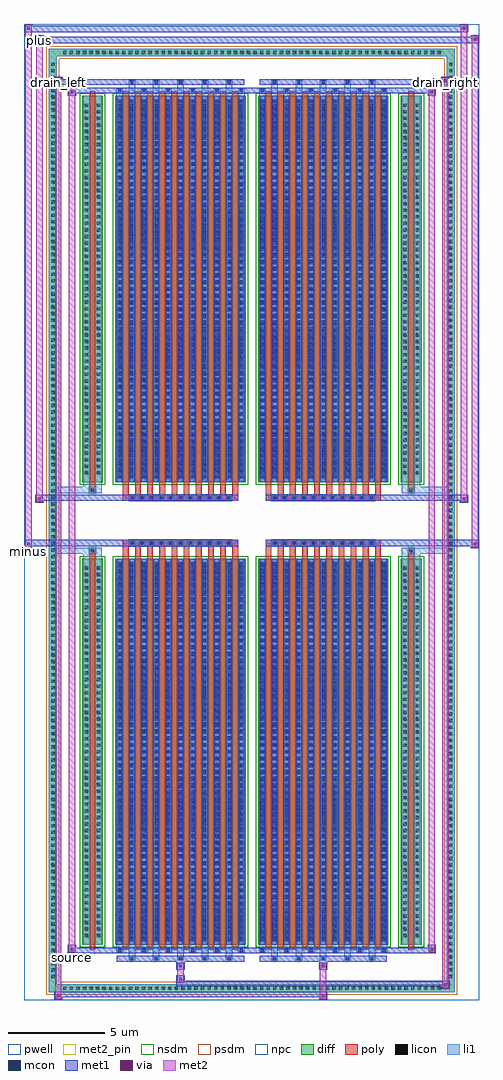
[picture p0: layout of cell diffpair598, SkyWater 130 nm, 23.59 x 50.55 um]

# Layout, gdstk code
import gdstk
lib = gdstk.Library(unit=1e-6, precision=5e-09)
def R(c, l, rs):  # rectangles x0, y0, x1, y1
    for r in rs: c.add(gdstk.rectangle(r[:2], r[2:], *l))
def A(c, l, x, y, w, h, nx, ny, dx, dy):  # array of equal rectangles
    R(c, l, [(x+i*dx, y+j*dy, x+i*dx+w, y+j*dy+h) for i in range(nx) for j in range(ny)])
def P(c, l, *ps):  # polygons
    for p in ps: c.add(gdstk.Polygon(p, *l))
pwell = (64, 44)
diff = (65, 20)
poly = (66, 20)
licon = (66, 44)
li1 = (67, 20)
mcon = (67, 44)
met1 = (68, 20)
via = (68, 44)
met2_pin = (69, 16)
met2 = (69, 20)
nsdm = (93, 44)
psdm = (94, 20)
npc = (95, 20)

diffpair598 = lib.new_cell('diffpair598')
R(diffpair598, pwell, [(-11.78,-24.84,11.78,25.71), (-9.1,-23.03,-0.01,-0.805), (0.01,-23.03,9.1,-0.805), (-9.1,0.805,-0.01,23.03), (0.01,0.805,9.1,23.03)])
A(diffpair598, diff, -9.895, -24.44, 0.41, 0.41, 58, 2, 0.34, 48.47)
A(diffpair598, diff, -10.51, -23.835, 0.41, 0.41, 1, 140, 0, 0.34)
A(diffpair598, diff, 10.1, -23.835, 0.41, 0.41, 1, 140, 0, 0.34)
R(diffpair598, diff, [(-9.895,-24.44,9.895,-24.03), (-10.51,-23.835,-10.1,23.835), (10.1,-23.835,10.51,23.835), (-8.79,-21.985,-7.71,-1.985), (-7.07,-21.985,-0.32,-1.985), (0.32,-21.985,7.07,-1.985), (7.71,-21.985,8.79,-1.985), (-8.79,1.985,-7.71,21.985), (-7.07,1.985,-0.32,21.985), (0.32,1.985,7.07,21.985), (7.71,1.985,8.79,21.985), (-9.895,24.03,9.895,24.44)])
P(diffpair598, diff, [(10.51,24.44),(-10.51,24.44),(-10.51,-24.03),(-10.1,-24.03),(-10.1,24.03),(10.1,24.03),(10.1,-24.03),(-10.1,-24.03),(-10.51,-24.03),(-10.51,-24.44),(10.51,-24.44)])
A(diffpair598, poly, -6.68, -22.235, 0.3, 20.5, 10, 2, 0.63, 23.97)
A(diffpair598, poly, 0.71, -22.235, 0.3, 20.5, 10, 2, 0.63, 23.97)
A(diffpair598, poly, -6.68, -1.735, 0.3, 0.4, 10, 2, 0.63, 3.07)
A(diffpair598, poly, 0.71, -1.735, 0.3, 0.4, 10, 2, 0.63, 3.07)
A(diffpair598, poly, -6.36, -1.335, 0.33, 0.33, 11, 2, 0.5, 2.34)
A(diffpair598, poly, 1.03, -1.335, 0.33, 0.33, 11, 2, 0.5, 2.34)
R(diffpair598, poly, [(-8.4,-22.235,-8.1,-1.735), (8.1,-22.235,8.4,-1.735), (-8.415,-1.735,-8.085,-1.405), (-8.415,-1.735,-8.085,-1.405), (8.085,-1.735,8.415,-1.405), (8.085,-1.735,8.415,-1.405), (-6.68,-1.335,-0.71,-1.005), (0.71,-1.335,6.68,-1.005), (-6.68,1.005,-0.71,1.335), (0.71,1.005,6.68,1.335), (-8.415,1.405,-8.085,1.735), (-8.415,1.405,-8.085,1.735), (8.085,1.405,8.415,1.735), (8.085,1.405,8.415,1.735), (-8.4,1.735,-8.1,22.235), (8.1,1.735,8.4,22.235)])
A(diffpair598, licon, -9.775, -24.32, 0.17, 0.17, 58, 2, 0.34, 48.47)
A(diffpair598, licon, -10.39, -23.715, 0.17, 0.17, 1, 140, 0, 0.34)
A(diffpair598, licon, 10.22, -23.715, 0.17, 0.17, 1, 140, 0, 0.34)
A(diffpair598, licon, -8.65, -21.59, 0.17, 0.17, 1, 57, 0, 0.34)
A(diffpair598, licon, -8.02, -21.59, 0.17, 0.17, 1, 57, 0, 0.34)
A(diffpair598, licon, -6.93, -21.59, 0.17, 0.17, 11, 57, 0.63, 0.34)
A(diffpair598, licon, 0.46, -21.59, 0.17, 0.17, 11, 57, 0.63, 0.34)
A(diffpair598, licon, 7.85, -21.59, 0.17, 0.17, 1, 57, 0, 0.34)
A(diffpair598, licon, 8.48, -21.59, 0.17, 0.17, 1, 57, 0, 0.34)
A(diffpair598, licon, -6.28, -1.255, 0.17, 0.17, 11, 2, 0.5, 2.34)
A(diffpair598, licon, 1.11, -1.255, 0.17, 0.17, 11, 2, 0.5, 2.34)
A(diffpair598, licon, -8.65, 2.38, 0.17, 0.17, 1, 57, 0, 0.34)
A(diffpair598, licon, -8.02, 2.38, 0.17, 0.17, 1, 57, 0, 0.34)
A(diffpair598, licon, -6.93, 2.38, 0.17, 0.17, 11, 57, 0.63, 0.34)
A(diffpair598, licon, 0.46, 2.38, 0.17, 0.17, 11, 57, 0.63, 0.34)
A(diffpair598, licon, 7.85, 2.38, 0.17, 0.17, 1, 57, 0, 0.34)
A(diffpair598, licon, 8.48, 2.38, 0.17, 0.17, 1, 57, 0, 0.34)
R(diffpair598, licon, [(-8.335,-1.655,-8.165,-1.485), (8.165,-1.655,8.335,-1.485), (-8.335,1.485,-8.165,1.655), (8.165,1.485,8.335,1.655)])
A(diffpair598, li1, -9.855, -24.4, 0.33, 0.33, 58, 2, 0.34, 48.47)
A(diffpair598, li1, -10.47, -23.795, 0.33, 0.33, 1, 140, 0, 0.34)
A(diffpair598, li1, 10.14, -23.795, 0.33, 0.33, 1, 140, 0, 0.34)
A(diffpair598, li1, -6.38, -22.79, 0.33, 0.805, 5, 2, 1.26, 44.775)
A(diffpair598, li1, -6.3, -22.79, 0.17, 0.17, 5, 2, 1.26, 45.41)
A(diffpair598, li1, 1.01, -22.79, 0.33, 0.805, 5, 2, 1.26, 44.775)
A(diffpair598, li1, 1.09, -22.79, 0.17, 0.17, 5, 2, 1.26, 45.41)
A(diffpair598, li1, -7.01, -22.36, 0.33, 0.375, 6, 2, 1.26, 44.345)
A(diffpair598, li1, -6.93, -22.36, 0.17, 0.17, 6, 2, 1.26, 44.55)
A(diffpair598, li1, 0.38, -22.36, 0.33, 0.375, 6, 2, 1.26, 44.345)
A(diffpair598, li1, 0.46, -22.36, 0.17, 0.17, 6, 2, 1.26, 44.55)
A(diffpair598, li1, -7.01, -21.985, 0.33, 20, 11, 2, 0.63, 23.97)
A(diffpair598, li1, 0.38, -21.985, 0.33, 20, 11, 2, 0.63, 23.97)
A(diffpair598, li1, -6.93, -21.79, 0.17, 0.17, 11, 55, 0.63, 0.36)
A(diffpair598, li1, -6.93, -21.79, 0.17, 19.61, 11, 2, 0.63, 23.97)
A(diffpair598, li1, 0.46, -21.79, 0.17, 0.17, 11, 55, 0.63, 0.36)
A(diffpair598, li1, 0.46, -21.79, 0.17, 19.61, 11, 2, 0.63, 23.97)
A(diffpair598, li1, -8.73, -21.67, 0.33, 0.33, 1, 57, 0, 0.34)
A(diffpair598, li1, -8.1, -21.67, 0.33, 0.33, 1, 57, 0, 0.34)
A(diffpair598, li1, -7.01, -21.67, 0.33, 0.33, 11, 57, 0.63, 0.34)
A(diffpair598, li1, 0.38, -21.67, 0.33, 0.33, 11, 57, 0.63, 0.34)
A(diffpair598, li1, 7.77, -21.67, 0.33, 0.33, 1, 57, 0, 0.34)
A(diffpair598, li1, 8.4, -21.67, 0.33, 0.33, 1, 57, 0, 0.34)
A(diffpair598, li1, -6.36, -1.335, 0.33, 0.33, 11, 2, 0.5, 2.34)
A(diffpair598, li1, 1.03, -1.335, 0.33, 0.33, 11, 2, 0.5, 2.34)
A(diffpair598, li1, -6.93, 2.18, 0.17, 0.17, 11, 55, 0.63, 0.36)
A(diffpair598, li1, 0.46, 2.18, 0.17, 0.17, 11, 55, 0.63, 0.36)
A(diffpair598, li1, -8.73, 2.3, 0.33, 0.33, 1, 57, 0, 0.34)
A(diffpair598, li1, -8.1, 2.3, 0.33, 0.33, 1, 57, 0, 0.34)
A(diffpair598, li1, -7.01, 2.3, 0.33, 0.33, 11, 57, 0.63, 0.34)
A(diffpair598, li1, 0.38, 2.3, 0.33, 0.33, 11, 57, 0.63, 0.34)
A(diffpair598, li1, 7.77, 2.3, 0.33, 0.33, 1, 57, 0, 0.34)
A(diffpair598, li1, 8.4, 2.3, 0.33, 0.33, 1, 57, 0, 0.34)
R(diffpair598, li1, [(-10.51,-24.44,-10.1,-24.03), (-10.51,-24.44,-10.1,-24.03), (-10.1,-24.44,10.1,-24.03), (10.1,-24.44,10.51,-24.03), (10.1,-24.44,10.51,-24.03), (-10.51,-24.03,-10.1,24.03), (10.1,-24.03,10.51,24.03), (-8.73,-21.985,-8.4,-1.985), (-8.1,-21.985,-7.77,-1.985), (7.77,-21.985,8.1,-1.985), (8.4,-21.985,8.73,-1.985), (-8.73,-1.985,-8.4,-1.405), (-8.1,-1.985,-7.77,-1.405), (7.77,-1.985,8.1,-1.405), (8.4,-1.985,8.73,-1.405), (-10.51,-1.735,-8.415,-1.405), (-8.73,-1.735,-8.415,-1.405), (-8.415,-1.735,-8.085,-1.405), (-8.085,-1.735,-7.77,-1.405), (7.77,-1.735,8.085,-1.405), (8.085,-1.735,8.415,-1.405), (8.085,-1.735,10.51,-1.405), (8.415,-1.735,8.73,-1.405), (-10.51,1.405,-8.415,1.735), (-8.73,1.405,-8.415,1.735), (-8.73,1.405,-8.4,1.985), (-8.415,1.405,-8.085,1.735), (-8.1,1.405,-7.77,1.985), (-8.085,1.405,-7.77,1.735), (7.77,1.405,8.085,1.735), (7.77,1.405,8.1,1.985), (8.085,1.405,8.415,1.735), (8.085,1.405,10.51,1.735), (8.4,1.405,8.73,1.985), (8.415,1.405,8.73,1.735), (-8.73,1.985,-8.4,21.985), (-8.1,1.985,-7.77,21.985), (7.77,1.985,8.1,21.985), (8.4,1.985,8.73,21.985), (-10.51,24.03,-10.1,24.44), (-10.51,24.03,-10.1,24.44), (-10.1,24.03,10.1,24.44), (10.1,24.03,10.51,24.44), (10.1,24.03,10.51,24.44)])
A(diffpair598, mcon, -6.3, -22.79, 0.17, 0.17, 5, 2, 1.26, 45.41)
A(diffpair598, mcon, 1.09, -22.79, 0.17, 0.17, 5, 2, 1.26, 45.41)
A(diffpair598, mcon, -6.93, -22.36, 0.17, 0.17, 6, 2, 1.26, 44.55)
A(diffpair598, mcon, 0.46, -22.36, 0.17, 0.17, 6, 2, 1.26, 44.55)
A(diffpair598, mcon, -6.93, -21.79, 0.17, 0.17, 11, 55, 0.63, 0.36)
A(diffpair598, mcon, 0.46, -21.79, 0.17, 0.17, 11, 55, 0.63, 0.36)
A(diffpair598, mcon, -6.28, -1.255, 0.17, 0.17, 11, 2, 0.5, 2.34)
A(diffpair598, mcon, 1.11, -1.255, 0.17, 0.17, 11, 2, 0.5, 2.34)
A(diffpair598, mcon, -6.93, 2.18, 0.17, 0.17, 11, 55, 0.63, 0.36)
A(diffpair598, mcon, 0.46, 2.18, 0.17, 0.17, 11, 55, 0.63, 0.36)
A(diffpair598, met1, -6.36, -22.85, 0.29, 0.29, 5, 2, 1.26, 45.41)
A(diffpair598, met1, 1.03, -22.85, 0.29, 0.29, 5, 2, 1.26, 45.41)
A(diffpair598, met1, -6.99, -22.42, 0.29, 0.29, 6, 2, 1.26, 44.55)
A(diffpair598, met1, 0.4, -22.42, 0.29, 0.29, 6, 2, 1.26, 44.55)
A(diffpair598, met1, -6.99, -21.985, 0.29, 20, 11, 2, 0.63, 23.97)
A(diffpair598, met1, 0.4, -21.985, 0.29, 20, 11, 2, 0.63, 23.97)
A(diffpair598, met1, -6.99, -21.85, 0.29, 0.29, 11, 55, 0.63, 0.36)
A(diffpair598, met1, 0.4, -21.85, 0.29, 0.29, 11, 55, 0.63, 0.36)
A(diffpair598, met1, -6.34, -1.315, 0.29, 0.29, 11, 2, 0.5, 2.34)
A(diffpair598, met1, 1.05, -1.315, 0.29, 0.29, 11, 2, 0.5, 2.34)
A(diffpair598, met1, -6.99, 2.12, 0.29, 0.29, 11, 55, 0.63, 0.36)
A(diffpair598, met1, 0.4, 2.12, 0.29, 0.29, 11, 55, 0.63, 0.36)
R(diffpair598, met1, [(-10.24,-24.84,-9.81,-24.41), (3.48,-24.84,3.91,-24.41), (-10.24,-24.7,3.91,-24.41), (9.81,-24.27,10.24,-23.84), (-3.91,-24.13,10.24,-23.84), (-3.91,-23.99,-3.48,-23.56), (-3.91,-23.28,-3.48,-22.85), (3.48,-23.28,3.91,-22.85), (-6.99,-22.85,-0.4,-22.56), (0.4,-22.85,6.99,-22.56), (-9.53,-22.42,-9.1,-21.99), (-9.53,-22.42,-6.99,-22.13), (-6.99,-22.42,-0.4,-22.13), (-0.4,-22.42,0.4,-22.13), (0.4,-22.42,6.99,-22.13), (6.99,-22.42,9.53,-22.13), (9.1,-22.42,9.53,-21.99), (-11.78,-1.435,-11.35,-1.005), (11.35,-1.435,11.78,-1.005), (-11.78,-1.335,-0.71,-1.005), (-6.68,-1.335,-0.71,-1.005), (0.71,-1.335,6.68,-1.005), (0.71,-1.335,11.78,-1.005), (-11.21,0.905,-10.78,1.335), (10.78,0.905,11.21,1.335), (-11.21,1.005,-6.68,1.335), (-6.68,1.005,-0.71,1.335), (0.71,1.005,6.68,1.335), (6.68,1.005,11.21,1.335), (-9.53,21.99,-9.1,22.42), (9.1,21.99,9.53,22.42), (-9.53,22.13,-6.99,22.42), (-6.99,22.13,-0.4,22.42), (-0.4,22.13,0.4,22.42), (0.4,22.13,6.99,22.42), (6.99,22.13,9.53,22.42), (-10.24,22.56,-9.81,22.99), (-10.24,22.56,-6.99,22.85), (-6.99,22.56,-0.4,22.85), (0.4,22.56,6.99,22.85), (6.99,22.56,10.24,22.85), (9.81,22.56,10.24,22.99), (-11.21,24.71,-10.78,25.14), (-11.21,24.71,-9.1,25.04), (-9.1,24.71,9.1,25.04), (9.1,24.71,11.78,25.04), (11.35,24.71,11.78,25.14), (-11.78,25.28,-11.35,25.71), (-11.78,25.28,-9.1,25.61), (-9.1,25.28,9.1,25.61), (9.1,25.28,11.21,25.61), (10.78,25.28,11.21,25.71)])
R(diffpair598, via, [(-10.1,-24.7,-9.95,-24.55), (3.62,-24.7,3.77,-24.55), (9.95,-24.13,10.1,-23.98), (-3.77,-23.85,-3.62,-23.7), (-3.77,-23.14,-3.62,-22.99), (3.62,-23.14,3.77,-22.99), (-9.39,-22.28,-9.24,-22.13), (9.24,-22.28,9.39,-22.13), (-11.64,-1.295,-11.49,-1.145), (11.49,-1.295,11.64,-1.145), (-11.07,1.045,-10.92,1.195), (10.92,1.045,11.07,1.195), (-9.39,22.13,-9.24,22.28), (9.24,22.13,9.39,22.28), (-10.1,22.7,-9.95,22.85), (9.95,22.7,10.1,22.85), (-11.07,24.85,-10.92,25), (11.49,24.85,11.64,25), (-11.64,25.42,-11.49,25.57), (10.92,25.42,11.07,25.57)])
R(diffpair598, met2_pin, [(-9.565,-22.87,-9.065,-22.37), (-11.815,-1.885,-11.315,-1.385), (-10.275,22.44,-9.775,22.94), (9.775,22.44,10.275,22.94), (-11.245,24.59,-10.745,25.09)])
R(diffpair598, met2, [(-10.19,-24.79,-9.86,-24.46), (-10.19,-24.79,-9.86,22.94), (3.53,-24.79,3.86,-24.46), (3.53,-24.46,3.86,-23.23), (9.86,-24.22,10.19,-23.89), (9.86,-24.22,10.19,22.94), (-3.86,-23.94,-3.53,-23.61), (-3.86,-23.61,-3.53,-23.23), (-3.86,-23.23,-3.53,-22.9), (3.53,-23.23,3.86,-22.9), (-9.48,-22.37,-9.15,-22.04), (-9.48,-22.37,-9.15,22.37), (9.15,-22.37,9.48,-22.04), (9.15,-22.37,9.48,22.37), (-11.73,-1.385,-11.4,-1.055), (-11.73,-1.385,-11.4,25.66), (11.4,-1.385,11.73,-1.055), (11.4,-1.385,11.73,25.09), (-11.16,0.955,-10.83,1.285), (-11.16,0.955,-10.83,25.09), (10.83,0.955,11.16,1.285), (10.83,0.955,11.16,25.66), (-9.48,22.04,-9.15,22.37), (9.15,22.04,9.48,22.37), (-10.19,22.61,-9.86,22.94), (9.86,22.61,10.19,22.94), (-11.16,24.76,-10.83,25.09), (11.4,24.76,11.73,25.09), (-11.73,25.33,-11.4,25.66), (10.83,25.33,11.16,25.66)])
P(diffpair598, met2, [(11.73,-1.385),(11.73,-1.385),(11.73,-1.055),(11.73,-1.055)],
  [(11.73,24.76),(11.73,24.76),(11.73,25.09),(11.73,25.09)],
  [(-11.4,-1.385),(-11.4,-1.385),(-11.4,-1.055),(-11.4,-1.055)],
  [(-11.4,25.33),(-11.4,25.33),(-11.4,25.66),(-11.4,25.66)],
  [(11.16,0.955),(11.16,0.955),(11.16,1.285),(11.16,1.285)],
  [(11.16,25.33),(11.16,25.33),(11.16,25.66),(11.16,25.66)],
  [(-10.83,0.955),(-10.83,0.955),(-10.83,1.285),(-10.83,1.285)],
  [(-10.83,24.76),(-10.83,24.76),(-10.83,25.09),(-10.83,25.09)],
  [(-9.86,-24.79),(-9.86,-24.79),(-9.86,-24.46),(-9.86,-24.46)],
  [(-9.86,22.61),(-9.86,22.61),(-9.86,22.94),(-9.86,22.94)],
  [(10.19,-24.22),(10.19,-24.22),(10.19,-23.89),(10.19,-23.89)],
  [(10.19,22.61),(10.19,22.61),(10.19,22.94),(10.19,22.94)],
  [(-9.15,-22.37),(-9.15,-22.37),(-9.15,-22.04),(-9.15,-22.04)],
  [(-9.15,22.04),(-9.15,22.04),(-9.15,22.37),(-9.15,22.37)],
  [(9.48,-22.37),(9.48,-22.37),(9.48,-22.04),(9.48,-22.04)],
  [(9.48,22.04),(9.48,22.04),(9.48,22.37),(9.48,22.37)])
R(diffpair598, nsdm, [(-8.92,-22.115,-7.58,-1.855), (-7.2,-22.115,-0.19,-1.855), (0.19,-22.115,7.2,-1.855), (7.58,-22.115,8.92,-1.855), (-8.92,1.855,-7.58,22.115), (-7.2,1.855,-0.19,22.115), (0.19,1.855,7.2,22.115), (7.58,1.855,8.92,22.115)])
P(diffpair598, psdm, [(10.64,24.57),(-10.64,24.57),(-10.64,-23.9),(-9.97,-23.9),(-9.97,23.9),(9.97,23.9),(9.97,-23.9),(-9.97,-23.9),(-10.64,-23.9),(-10.64,-24.57),(10.64,-24.57)])
A(diffpair598, npc, -6.38, -1.355, 0.37, 0.37, 11, 2, 0.5, 2.34)
A(diffpair598, npc, 1.01, -1.355, 0.37, 0.37, 11, 2, 0.5, 2.34)
R(diffpair598, npc, [(-8.435,-1.755,-8.065,-1.385), (8.065,-1.755,8.435,-1.385), (-6.38,-1.355,-5.51,-0.985), (-6.38,-1.355,-5.51,-0.985), (-5.88,-1.355,-5.01,-0.985), (-5.88,-1.355,-5.01,-0.985), (-5.38,-1.355,-4.51,-0.985), (-5.38,-1.355,-4.51,-0.985), (-4.88,-1.355,-4.01,-0.985), (-4.88,-1.355,-4.01,-0.985), (-4.38,-1.355,-3.51,-0.985), (-4.38,-1.355,-3.51,-0.985), (-3.88,-1.355,-3.01,-0.985), (-3.88,-1.355,-3.01,-0.985), (-3.38,-1.355,-2.51,-0.985), (-3.38,-1.355,-2.51,-0.985), (-2.88,-1.355,-2.01,-0.985), (-2.88,-1.355,-2.01,-0.985), (-2.38,-1.355,-1.51,-0.985), (-2.38,-1.355,-1.51,-0.985), (-1.88,-1.355,-1.01,-0.985), (-1.88,-1.355,-1.01,-0.985), (1.01,-1.355,1.88,-0.985), (1.01,-1.355,1.88,-0.985), (1.51,-1.355,2.38,-0.985), (1.51,-1.355,2.38,-0.985), (2.01,-1.355,2.88,-0.985), (2.01,-1.355,2.88,-0.985), (2.51,-1.355,3.38,-0.985), (2.51,-1.355,3.38,-0.985), (3.01,-1.355,3.88,-0.985), (3.01,-1.355,3.88,-0.985), (3.51,-1.355,4.38,-0.985), (3.51,-1.355,4.38,-0.985), (4.01,-1.355,4.88,-0.985), (4.01,-1.355,4.88,-0.985), (4.51,-1.355,5.38,-0.985), (4.51,-1.355,5.38,-0.985), (5.01,-1.355,5.88,-0.985), (5.01,-1.355,5.88,-0.985), (5.51,-1.355,6.38,-0.985), (5.51,-1.355,6.38,-0.985), (-6.38,0.985,-5.51,1.355), (-6.38,0.985,-5.51,1.355), (-5.88,0.985,-5.01,1.355), (-5.88,0.985,-5.01,1.355), (-5.38,0.985,-4.51,1.355), (-5.38,0.985,-4.51,1.355), (-4.88,0.985,-4.01,1.355), (-4.88,0.985,-4.01,1.355), (-4.38,0.985,-3.51,1.355), (-4.38,0.985,-3.51,1.355), (-3.88,0.985,-3.01,1.355), (-3.88,0.985,-3.01,1.355), (-3.38,0.985,-2.51,1.355), (-3.38,0.985,-2.51,1.355), (-2.88,0.985,-2.01,1.355), (-2.88,0.985,-2.01,1.355), (-2.38,0.985,-1.51,1.355), (-2.38,0.985,-1.51,1.355), (-1.88,0.985,-1.01,1.355), (-1.88,0.985,-1.01,1.355), (1.01,0.985,1.88,1.355), (1.01,0.985,1.88,1.355), (1.51,0.985,2.38,1.355), (1.51,0.985,2.38,1.355), (2.01,0.985,2.88,1.355), (2.01,0.985,2.88,1.355), (2.51,0.985,3.38,1.355), (2.51,0.985,3.38,1.355), (3.01,0.985,3.88,1.355), (3.01,0.985,3.88,1.355), (3.51,0.985,4.38,1.355), (3.51,0.985,4.38,1.355), (4.01,0.985,4.88,1.355), (4.01,0.985,4.88,1.355), (4.51,0.985,5.38,1.355), (4.51,0.985,5.38,1.355), (5.01,0.985,5.88,1.355), (5.01,0.985,5.88,1.355), (5.51,0.985,6.38,1.355), (5.51,0.985,6.38,1.355), (-8.435,1.385,-8.065,1.755), (8.065,1.385,8.435,1.755)])
diffpair598.add(gdstk.Label('minus', (-11.565,-1.635), layer=69, texttype=5))
diffpair598.add(gdstk.Label('drain_right', (10.025,22.69), layer=69, texttype=5))
diffpair598.add(gdstk.Label('drain_left', (-10.025,22.69), layer=69, texttype=5))
diffpair598.add(gdstk.Label('source', (-9.315,-22.62), layer=69, texttype=5))
diffpair598.add(gdstk.Label('plus', (-10.995,24.84), layer=69, texttype=5))

lib.write_gds('diffpair598.gds')
